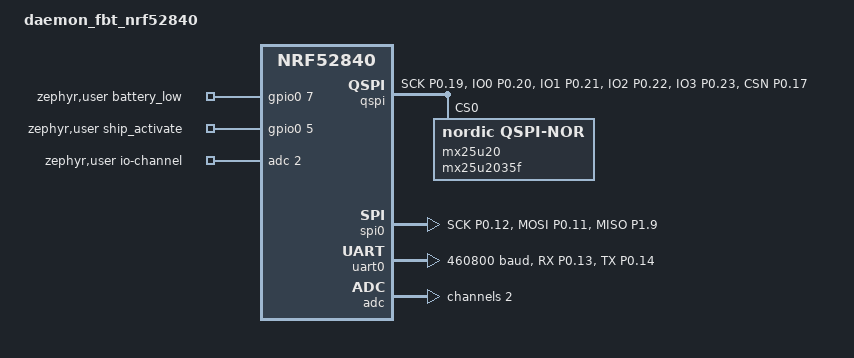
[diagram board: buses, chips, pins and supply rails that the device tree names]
// Copyright (c) 2024 Nordic Semiconductor ASA
// SPDX-License-Identifier: Apache-2.0

/dts-v1/;
#include <nordic/nrf52840_qfaa.dtsi>

/ {
	model = "daemon_fbt_nrf52840";
	compatible = "daemon,daemon-fbt-nrf52840";

	chosen {
		zephyr,console = &uart0;
		// zephyr,shell-uart = &uart0;
		zephyr,uart-mcumgr = &uart0;
		zephyr,sram = &sram0;
		zephyr,flash = &flash0;
		zephyr,code-partition = &slot0_partition;
	};
	
	aliases {
		spi-flash0 = &mx25u20;
	};

	reserved-memory {
		#address-cells = <1>;
		#size-cells = <1>;
		ranges;
	};

	zephyr,user {
		io-channels = <&adc 2>;
		battery_low-gpios = <&gpio0 7 0>;
		ship_activate-gpios = <&gpio0 5 0>;
	};
};

&flash0 {
	partitions {
		compatible = "fixed-partitions";
		#address-cells = <1>;
		#size-cells = <1>;

		boot_partition: partition@0 {
			label = "mcuboot";
			reg = <0x0 0xc000>;
		};
		slot0_partition: partition@c000 {
			label = "image-0";
			reg = <0xc000 0x72000>;
		};
		slot1_partition: partition@7e000 {
			label = "image-1";
			reg = <0x7e000 0x72000>;
		};
		scratch_partition: partition@f0000 {
			label = "image-scratch";
			reg = <0xf0000 0xa000>;
		};
		storage_partition: partition@fa000 {
			label = "storage";
			reg = <0xfa000 0x6000>;
		};
	};
};


&gpio0 {
	status = "okay";
};

&qspi {
	status = "okay";
	pinctrl-0 = <&qspi_default>;
	pinctrl-names = "default";
	mx25u20: mx25u2035f@0 {
		compatible = "nordic,qspi-nor";
		reg = <0>;
		/* MX25U20 supports only pp and pp4io */
		writeoc = "pp4io";
		/* MX25U20 supports all readoc options */
		readoc = "read4io";
		sck-frequency = <32000000>;
		jedec-id = [c2 25 32];
		sfdp-bfp = [
			e5 20 f1 ff  ff ff 1f 00  44 eb 08 6b
			ee ff ff ff  ff ff 00 ff  ff ff 00 f2
			10 d8 00 ff  23 72 f5 00  82 ed 04 a4
			30 b0 30 b0  f7 c4 d5 5c  00 be 29 ff
		];
		size = <2097152>;
		t-enter-dpd = <10000>;
		t-exit-dpd = <35000>;
		partitions {
			compatible = "fixed-partitions";
			#address-cells = <1>;
			#size-cells = <1>;
		};
	};
};

imu_gpio: &gpio1 {
	compatible = "nordic,nrf-gpio";
	status = "okay";
	port = <1>;
};

imu_spi: &spi0 {
	compatible = "nordic,nrf-spim";
	status = "okay";
	pinctrl-0 = <&spi1_default>;
	pinctrl-names = "default";
	cs-gpios = <&gpio1 8 GPIO_ACTIVE_LOW>;
	// bhi360: spi-device@0 {
	// 	compatible = "daemon,spi-device";
	// 	reg = <0>;
	// 	spi-max-frequency = <4000000>;
	// };
};

&pinctrl {
	spi1_default: spi0_default {
		group1 {
			psels = <NRF_PSEL(SPIM_SCK, 0, 12)>,
					<NRF_PSEL(SPIM_MOSI, 0, 11)>,
					<NRF_PSEL(SPIM_MISO, 1, 9)>;
		};
	};

	qspi_default: qspi_default {
		group1 {
			psels = <NRF_PSEL(QSPI_SCK, 0, 19)>,
					<NRF_PSEL(QSPI_IO0, 0, 20)>,
					<NRF_PSEL(QSPI_IO1, 0, 21)>,
					<NRF_PSEL(QSPI_IO2, 0, 22)>,
					<NRF_PSEL(QSPI_IO3, 0, 23)>,
					<NRF_PSEL(QSPI_CSN, 0, 17)>;
			nordic,drive-mode = <NRF_DRIVE_H0H1>;
		};
	};

	uart0_default: uart0_default {
		group1 {
			psels = <NRF_PSEL(UART_RX, 0, 13)>, <NRF_PSEL(UART_TX, 0, 14)>;
		};
	};
};

&uart0 {
	status = "okay";
	pinctrl-0 = <&uart0_default>;
	pinctrl-names = "default";
	current-speed = <460800>;
};

&adc {
	status = "okay";
	#address-cells = <1>;
	#size-cells = <0>;

	// max input = ref/gain = 0.6V/(1/3) = 1.8V
	channel@2 {
		reg = <2>;
		zephyr,gain = "ADC_GAIN_1_3";
		zephyr,reference = "ADC_REF_INTERNAL"; // 0.6V
		zephyr,acquisition-time = <ADC_ACQ_TIME_DEFAULT>;
		zephyr,input-positive = <NRF_SAADC_AIN2>;
		zephyr,resolution = <8>;
	};
};
